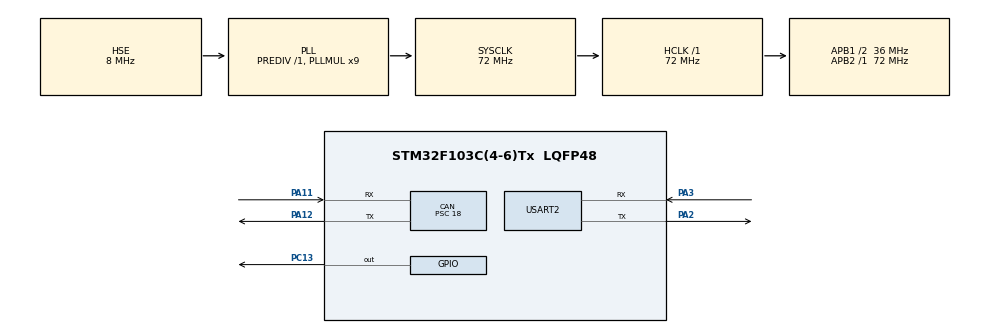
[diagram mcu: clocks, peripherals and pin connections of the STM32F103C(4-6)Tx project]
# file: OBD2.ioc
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CAN.ABOM=DISABLE
CAN.BS1=CAN_BS1_2TQ
CAN.CalculateBaudRate=500000
CAN.CalculateTimeBit=2000
CAN.CalculateTimeQuantum=500.0
CAN.Mode=CAN_MODE_NORMAL
CAN.Prescaler=18
Mcu.Family=STM32F1
Mcu.Name=STM32F103C(4-6)Tx
Mcu.Package=LQFP48
NVIC.CAN1_RX1_IRQn=true\:0\:0\:false\:false\:true\:true\:true\:true
NVIC.PriorityGroup=NVIC_PRIORITYGROUP_4
NVIC.USART2_IRQn=true\:0\:0\:false\:false\:true\:true\:true\:true
NVIC.USB_LP_CAN1_RX0_IRQn=true\:0\:0\:false\:false\:true\:true\:true\:true
PA11.Mode=CAN_Activate
PA11.Signal=CAN_RX
PA12.Mode=CAN_Activate
PA12.Signal=CAN_TX
PA13.Mode=Serial_Wire
PA13.Signal=SYS_JTMS-SWDIO
PA14.Mode=Serial_Wire
PA14.Signal=SYS_JTCK-SWCLK
PA2.Mode=Asynchronous
PA2.Signal=USART2_TX
PA3.Mode=Asynchronous
PA3.Signal=USART2_RX
PC13-TAMPER-RTC.Signal=GPIO_Output
PD0-OSC_IN.Mode=HSE-External-Oscillator
PD0-OSC_IN.Signal=RCC_OSC_IN
PD1-OSC_OUT.Mode=HSE-External-Oscillator
PD1-OSC_OUT.Signal=RCC_OSC_OUT
ProjectManager.HeapSize=0x200
ProjectManager.StackSize=0x400
ProjectManager.TargetToolchain=STM32CubeIDE
RCC.AHBFreq_Value=72000000
RCC.APB1CLKDivider=RCC_HCLK_DIV2
RCC.APB1Freq_Value=36000000
RCC.APB1TimFreq_Value=72000000
RCC.APB2Freq_Value=72000000
RCC.APB2TimFreq_Value=72000000
RCC.HCLKFreq_Value=72000000
RCC.PLLMUL=RCC_PLL_MUL9
RCC.PLLSourceVirtual=RCC_PLLSOURCE_HSE
RCC.SYSCLKFreq_VALUE=72000000
RCC.SYSCLKSource=RCC_SYSCLKSOURCE_PLLCLK
RCC.USBFreq_Value=72000000
USART2.VirtualMode=VM_ASYNC
board=custom

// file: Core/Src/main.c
/* USER CODE BEGIN Header */
/**
  ******************************************************************************
  * @file           : main.c
  * @brief          : Main program body
  ******************************************************************************
  * @attention
  *
  * Copyright (c) 2024 STMicroelectronics.
  * All rights reserved.
  *
  * This software is licensed under terms that can be found in the LICENSE file
  * in the root directory of this software component.
  * If no LICENSE file comes with this software, it is provided AS-IS.
  *
  ******************************************************************************
  */
/* USER CODE END Header */
#include "main.h"

/* USER CODE BEGIN Includes */
#include "OBD2.h"
/* USER CODE END Includes */

CAN_HandleTypeDef hcan;

UART_HandleTypeDef huart2;

void SystemClock_Config(void);
static void MX_GPIO_Init(void);
static void MX_CAN_Init(void);
static void MX_USART2_UART_Init(void);

int main(void)
{

  /* MCU Configuration--------------------------------------------------------*/

  /* Reset of all peripherals, Initializes the Flash interface and the Systick. */
  HAL_Init();

  /* Configure the system clock */
  SystemClock_Config();

  /* Initialize all configured peripherals */
  MX_GPIO_Init();
  MX_CAN_Init();
  MX_USART2_UART_Init();
  /* USER CODE BEGIN 2 */
  /* Start the CAN peripheral */
  OBD2_Init();
  uint8_t ReceivedPID  = PID_EngineCoolantTemp;
  uint8_t ReceivedMode = RequestLiveData;
  uint8_t RXdata[2] = {ReceivedPID, ReceivedMode};
  /* USER CODE END 2 */

  /* Infinite loop */
  while (1)
  {

    /* USER CODE BEGIN 3 */

    /* Check if there is a debug message available*/
    if (OBD2_GetDebugMessage(RXdata, 2) == HAL_OK)
    {
        /* Toggle LED to indicate receiving a debug message for debugging purposes */
        HAL_GPIO_TogglePin(GPIOC, GPIO_PIN_13);

        /* Check if received mode is not zero */
        if (RXdata[1] != 0)
        {
            ReceivedPID  = RXdata[0]; /* Update received PID */
            ReceivedMode = RXdata[1]; /* Update received mode */

            /* Check if received mode is for clearing stored emissions-related data */
            if (ReceivedMode == ClearStoredEmissionsRelatedData)
            {
                /* Clear stored DTCs and send debug message with status */
                OBD2_SendDebugMessage("DTC Clear Status: %d", OBD2_ClearStoredDTC());
                ReceivedPID  = 0; /* Reset received PID */
                ReceivedMode = 0; /* Reset received mode */
            }
            /* Check if received mode is for requesting vehicle information */
            else if (ReceivedMode == RequestVehicleInformation)
            {
                if (ReceivedPID == PID_VIN)
                {
                    /* Read VIN and send a debug message */
                    uint8_t Name[VIN_SIZE + 1];
                    OBD2_ReadVIN(Name);
                    OBD2_SendDebugMessage("VIN Code: %s", (char*)Name);
                    ReceivedPID  = 0; /* Reset received PID */
                    ReceivedMode = 0; /* Reset received mode */
                }
                else if (ReceivedPID == PID_ECUName)
                {
                    /* Read ECU name and send a debug message */
                    uint8_t Name[ECU_NAME_SIZE + 1];
                    OBD2_ReadECUName(Name);
                    OBD2_SendDebugMessage("ECU Name: %s", (char*)Name);
                    ReceivedPID  = 0; /* Reset received PID */
                    ReceivedMode = 0; /* Reset received mode */
                }
            }
            /* Check if received mode is for requesting stored trouble codes */
            else if (ReceivedMode == RequestStoredTroubleCodes)
            {
                /* Read DTCs and send a debug message */
                uint8_t Name[60];
                OBD2_ReadDTCs(Name);
                OBD2_SendDebugMessage("DTCs: %s", Name);
                ReceivedPID  = 0; /* Reset received PID */
                ReceivedMode = 0; /* Reset received mode */
            }
        }
    }
    /* If received PID and mode are valid, request data and send debug message every 200ms */
    if (ReceivedPID > 0 && ReceivedMode > 0)
    {
        OBD2_RequestData(ReceivedMode, ReceivedPID);
        HAL_Delay(200);
        OBD2_SendDebugMessage("PID Name: %s, Value = %ld\n", PID_Names[ReceivedPID], OBD2_FetchData(ReceivedPID));
    }
  }
  /* USER CODE END 3 */
}

void SystemClock_Config(void)
{
  RCC_OscInitTypeDef RCC_OscInitStruct = {0};
  RCC_ClkInitTypeDef RCC_ClkInitStruct = {0};

  /** Initializes the RCC Oscillators according to the specified parameters
  * in the RCC_OscInitTypeDef structure.
  */
  RCC_OscInitStruct.OscillatorType = RCC_OSCILLATORTYPE_HSE;
  RCC_OscInitStruct.HSEState = RCC_HSE_ON;
  RCC_OscInitStruct.HSEPredivValue = RCC_HSE_PREDIV_DIV1;
  RCC_OscInitStruct.HSIState = RCC_HSI_ON;
  RCC_OscInitStruct.PLL.PLLState = RCC_PLL_ON;
  RCC_OscInitStruct.PLL.PLLSource = RCC_PLLSOURCE_HSE;
  RCC_OscInitStruct.PLL.PLLMUL = RCC_PLL_MUL9;
  if (HAL_RCC_OscConfig(&RCC_OscInitStruct) != HAL_OK)
  {
    Error_Handler();
  }

  /** Initializes the CPU, AHB and APB buses clocks
  */
  RCC_ClkInitStruct.ClockType = RCC_CLOCKTYPE_HCLK|RCC_CLOCKTYPE_SYSCLK
                              |RCC_CLOCKTYPE_PCLK1|RCC_CLOCKTYPE_PCLK2;
  RCC_ClkInitStruct.SYSCLKSource = RCC_SYSCLKSOURCE_PLLCLK;
  RCC_ClkInitStruct.AHBCLKDivider = RCC_SYSCLK_DIV1;
  RCC_ClkInitStruct.APB1CLKDivider = RCC_HCLK_DIV2;
  RCC_ClkInitStruct.APB2CLKDivider = RCC_HCLK_DIV1;

  if (HAL_RCC_ClockConfig(&RCC_ClkInitStruct, FLASH_LATENCY_2) != HAL_OK)
  {
    Error_Handler();
  }
}

static void MX_CAN_Init(void)
{

  hcan.Instance = CAN1;
  hcan.Init.Prescaler = 18;
  hcan.Init.Mode = CAN_MODE_NORMAL;
  hcan.Init.SyncJumpWidth = CAN_SJW_1TQ;
  hcan.Init.TimeSeg1 = CAN_BS1_2TQ;
  hcan.Init.TimeSeg2 = CAN_BS2_1TQ;
  hcan.Init.TimeTriggeredMode = DISABLE;
  hcan.Init.AutoBusOff = DISABLE;
  hcan.Init.AutoWakeUp = DISABLE;
  hcan.Init.AutoRetransmission = DISABLE;
  hcan.Init.ReceiveFifoLocked = DISABLE;
  hcan.Init.TransmitFifoPriority = DISABLE;
  if (HAL_CAN_Init(&hcan) != HAL_OK)
  {
    Error_Handler();
  }

}

static void MX_USART2_UART_Init(void)
{

  huart2.Instance = USART2;
  huart2.Init.BaudRate = 115200;
  huart2.Init.WordLength = UART_WORDLENGTH_8B;
  huart2.Init.StopBits = UART_STOPBITS_1;
  huart2.Init.Parity = UART_PARITY_NONE;
  huart2.Init.Mode = UART_MODE_TX_RX;
  huart2.Init.HwFlowCtl = UART_HWCONTROL_NONE;
  huart2.Init.OverSampling = UART_OVERSAMPLING_16;
  if (HAL_UART_Init(&huart2) != HAL_OK)
  {
    Error_Handler();
  }

}

static void MX_GPIO_Init(void)
{
  GPIO_InitTypeDef GPIO_InitStruct = {0};

  /* GPIO Ports Clock Enable */
  __HAL_RCC_GPIOC_CLK_ENABLE();
  __HAL_RCC_GPIOD_CLK_ENABLE();
  __HAL_RCC_GPIOA_CLK_ENABLE();

  /*Configure GPIO pin Output Level */
  HAL_GPIO_WritePin(GPIOC, GPIO_PIN_13, GPIO_PIN_RESET);

  /*Configure GPIO pin : PC13 */
  GPIO_InitStruct.Pin = GPIO_PIN_13;
  GPIO_InitStruct.Mode = GPIO_MODE_OUTPUT_PP;
  GPIO_InitStruct.Pull = GPIO_NOPULL;
  GPIO_InitStruct.Speed = GPIO_SPEED_FREQ_LOW;
  HAL_GPIO_Init(GPIOC, &GPIO_InitStruct);

}

void Error_Handler(void)
{
  __disable_irq();
  while (1)
  {
  }
}
